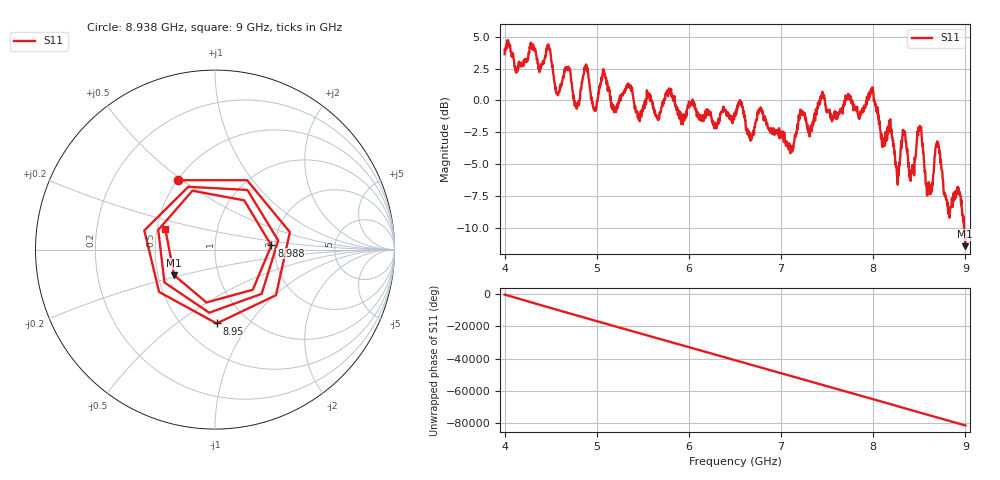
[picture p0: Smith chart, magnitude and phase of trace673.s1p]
! Created with skrf 1.8.0 (http://scikit-rf.org).
# Hz S RI R 50.0
!freq ReS11 ImS11
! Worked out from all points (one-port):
!   1601 points, 4 GHz to 9 GHz, reference 50 ohm
!   lowest |S11| = -11.4 dB at 8.997 GHz (marker M1), VSWR 1.73, Z = 30.4 - j9.34 ohm
!   |S11| at or under -10 dB: 8.986646 GHz to end of sweep
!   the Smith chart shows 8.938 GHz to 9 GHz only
!   S11 on the Smith chart (normalised r, x): 8.938 GHz: 0.50, +0.48; 8.95 GHz: 0.72, -0.71; 8.988 GHz: 1.91, +0.10; 9 GHz: 0.55, +0.14
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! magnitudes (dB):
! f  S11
! 4 GHz  3.6
! 4.475 GHz  4.4
! 4.562 GHz  0.6
! 4.625 GHz  1.5
! 4.784 GHz  -0.6
! 4.884 GHz  2.8
! 4.972 GHz  -0.8
! 5.075 GHz  2.1
! 5.25 GHz  0.0
! 5.875 GHz  -0.6
! 6.5 GHz  -1.2
! 7.125 GHz  -3.9
! 7.228 GHz  -0.9
! 7.75 GHz  0.0
! 7.988 GHz  0.9
! 8.262 GHz  -6.2
! 8.328 GHz  -2.4
! 8.375 GHz  -4.2
! 8.422 GHz  -5.5
! 8.503 GHz  -2.0
! 8.6 GHz  -6.4
! 8.697 GHz  -3.4
! 8.812 GHz  -8.7
! 8.938 GHz  -7.2
! 8.95 GHz  -7.7
! 8.988 GHz  -10.0
! 8.997 GHz  -11.4
! 9 GHz  -10.5
